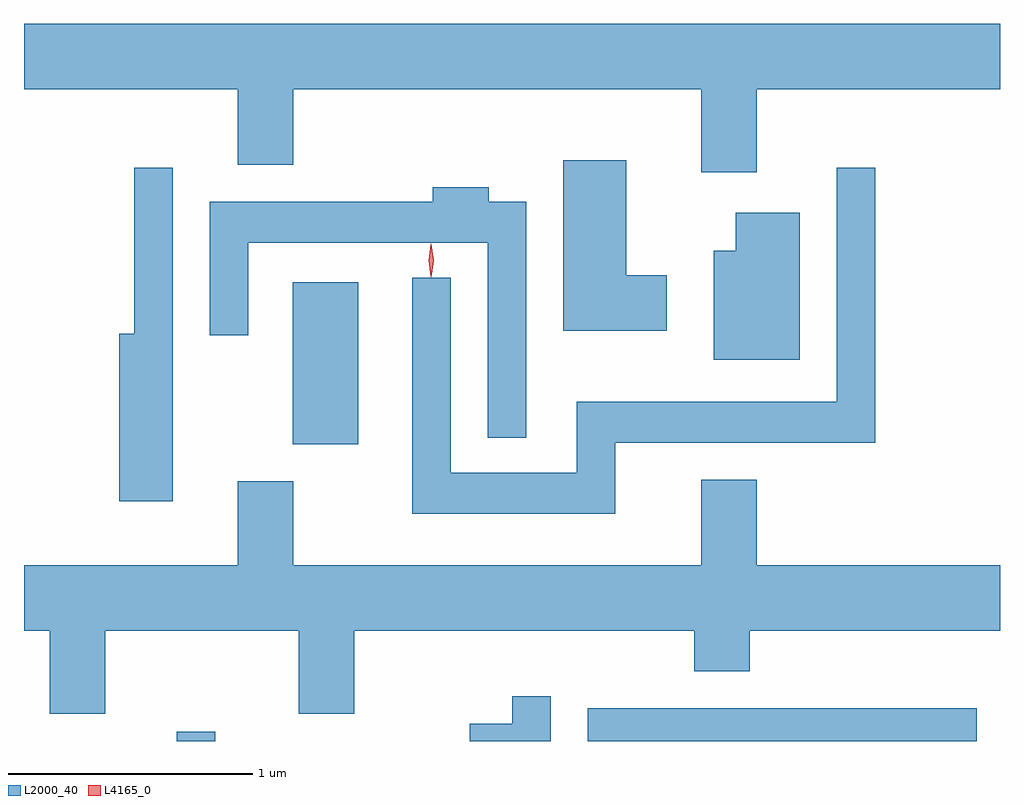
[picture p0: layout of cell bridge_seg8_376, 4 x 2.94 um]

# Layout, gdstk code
import gdstk
lib = gdstk.Library(unit=1e-6, precision=1e-09)
def R(c, l, rs):  # rectangles x0, y0, x1, y1
    for r in rs: c.add(gdstk.rectangle(r[:2], r[2:], *l))
def P(c, l, *ps):  # polygons
    for p in ps: c.add(gdstk.Polygon(p, *l))
L2000_40 = (2000, 40)
L4165_0 = (4165, 0)

bridge_seg8_376 = lib.new_cell('bridge_seg8_376')
R(bridge_seg8_376, L2000_40, [(683.581,1918.103,683.739,1918.143), (685.266,1918.103,686.859,1918.239), (684.056,1919.321,684.324,1919.984)])
P(bridge_seg8_376, L2000_40, [(682.955,1920.776),(683.831,1920.776),(683.831,1920.466),(684.059,1920.466),(684.059,1920.776),(685.731,1920.776),(685.731,1920.436),(685.959,1920.436),(685.959,1920.776),(686.955,1920.776),(686.955,1921.044),(682.955,1921.044)],
  [(685.589,1920.014),(685.424,1920.014),(685.424,1920.484),(685.166,1920.484),(685.166,1919.786),(685.589,1919.786)],
  [(685.379,1919.326),(686.444,1919.326),(686.444,1920.453),(686.286,1920.453),(686.286,1919.494),(685.221,1919.494),(685.221,1919.204),(684.704,1919.204),(684.704,1920.003),(684.546,1920.003),(684.546,1919.036),(685.379,1919.036)],
  [(683.564,1920.453),(683.406,1920.453),(683.406,1919.774),(683.346,1919.774),(683.346,1919.086),(683.564,1919.086)],
  [(685.014,1920.314),(684.859,1920.314),(684.859,1920.374),(684.631,1920.374),(684.631,1920.314),(683.716,1920.314),(683.716,1919.768),(683.874,1919.768),(683.874,1920.146),(684.856,1920.146),(684.856,1919.348),(685.014,1919.348)],
  [(686.134,1920.269),(685.871,1920.269),(685.871,1920.114),(685.781,1920.114),(685.781,1919.666),(686.134,1919.666)],
  [(682.955,1918.556),(683.061,1918.556),(683.061,1918.216),(683.289,1918.216),(683.289,1918.556),(684.081,1918.556),(684.081,1918.216),(684.309,1918.216),(684.309,1918.556),(685.701,1918.556),(685.701,1918.391),(685.929,1918.391),(685.929,1918.556),(686.955,1918.556),(686.955,1918.824),(685.959,1918.824),(685.959,1919.174),(685.731,1919.174),(685.731,1918.824),(684.059,1918.824),(684.059,1919.169),(683.831,1919.169),(683.831,1918.824),(682.955,1918.824)],
  [(685.114,1918.288),(684.956,1918.288),(684.956,1918.174),(684.781,1918.174),(684.781,1918.103),(685.114,1918.103)])
P(bridge_seg8_376, L4165_0, [(684.623,1920.007),(684.614,1920.074),(684.623,1920.14),(684.624,1920.14),(684.624,1920.14),(684.634,1920.074),(684.624,1920.007),(684.624,1920.007)],
  [(684.624,1920.004),(684.615,1920.073),(684.624,1920.142),(684.625,1920.143),(684.625,1920.142),(684.635,1920.073),(684.625,1920.004),(684.625,1920.004)])

lib.write_gds('bridge_seg8_376.gds')
